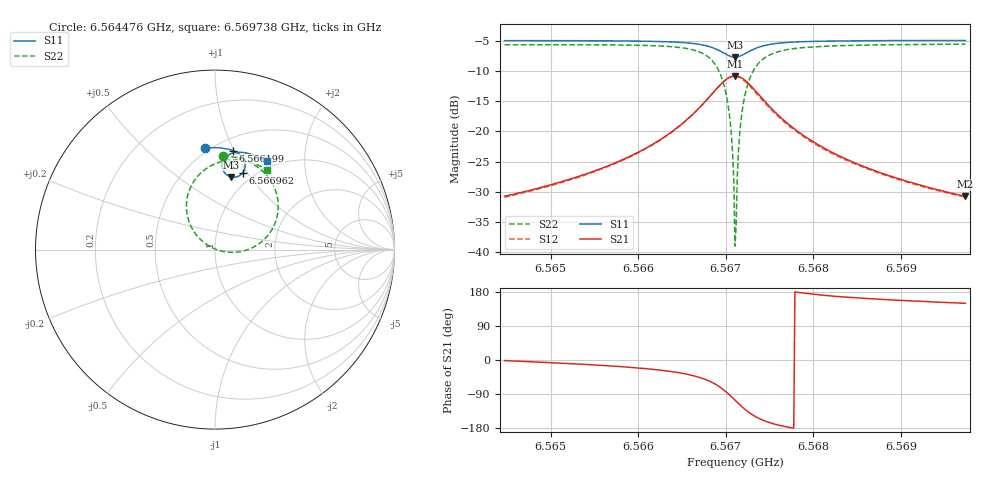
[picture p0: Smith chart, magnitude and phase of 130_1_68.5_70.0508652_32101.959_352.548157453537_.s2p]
#  HZ  S  RI  R  50.00
! Rohde & Schwarz Vector Network Analyzer
! Rohde-Schwarz,ZNB20-2Port,1311601062101988,3.16
! Created: UTC 3/20/2024, 5:09:34 PM
! freq[Hz]  re:S11  im:S11  re:S21  im:S21  re:S12  im:S12  re:S22  im:S22
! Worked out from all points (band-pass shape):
!   401 points, 6.564476 GHz to 6.569738 GHz, reference 50 ohm
!   highest |S21| = -10.75 dB at 6.567107 GHz (marker M1); lowest = -30.8 dB at 6.569738 GHz (marker M2)
!   |S21| within 3 dB of the highest: 6.566845 GHz to 6.56737 GHz (525.5 kHz wide, 0.008 % of centre)
!   lowest |S11| = -7.6 dB at 6.567107 GHz (marker M3), VSWR 2.42, Z = 41.8 + j40.8 ohm
!   |S11| at or under -10 dB: nowhere
!   |S22| runs from -39.1 to -5.5 dB; largest |S21 - S12| = 0.014
!   S11 on the Smith chart (normalised r, x): 6.564476 GHz: 0.47, +0.79; 6.566199 GHz: 0.61, +0.99; 6.566962 GHz: 0.88, +0.96; 6.569738 GHz: 0.91, +1.32
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6.5644756e9  -0.0537 0.5666  0.029 -0.000761  0.0284 -0.00124  0.0464 0.5235
6.565357e9  0.019 0.5675  0.0425 -0.00844  0.0416 -0.00888  0.1312 0.5089
6.566199e9  0.0987 0.5518  0.073 -0.0346  0.0719 -0.0353  0.2446 0.4538
6.5662384e9  0.103 0.5501  0.0755 -0.0373  0.0742 -0.0381  0.2518 0.4484
6.5667383e9  0.1618 0.498  0.111 -0.1267  0.1085 -0.1291  0.3504 0.2744
6.5668699e9  0.1676 0.4615  0.1004 -0.1905  0.0954 -0.194  0.3366 0.1527
6.566962e9  0.1549 0.4289  0.0612 -0.2462  0.0526 -0.2492  0.2654 0.0489
6.5670014e9  0.1423 0.416  0.0313 -0.2672  0.0209 -0.2688  0.2101 0.0115
6.5670409e9  0.1252 0.4068  -0.00666 -0.2809  -0.0186 -0.2803  0.1406 -0.0114
6.5670672e9  0.1117 0.4037  -0.0352 -0.2844  -0.0477 -0.2817  0.0891 -0.0151
6.5670935e9  0.0977 0.4035  -0.0647 -0.2821  -0.0772 -0.2772  0.0365 -0.00821
6.5671067e9  0.0906 0.4047  -0.0794 -0.2789  -0.0914 -0.2728  0.0111 -0.000654
6.5671198e9  0.0837 0.4065  -0.0935 -0.2741  -0.1051 -0.2669  -0.0135 0.00947
6.567133e9  0.0772 0.4092  -0.1071 -0.2681  -0.1182 -0.2599  -0.0365 0.0219
6.5671593e9  0.0653 0.4165  -0.1316 -0.2522  -0.1414 -0.2423  -0.0777 0.0531
6.5671856e9  0.0556 0.426  -0.1522 -0.2327  -0.1599 -0.2217  -0.1106 0.09
6.5672382e9  0.0437 0.4481  -0.1787 -0.1886  -0.1826 -0.1768  -0.1496 0.1707
6.567304e9  0.0414 0.4752  -0.1889 -0.1357  -0.189 -0.125  -0.1583 0.2642
6.5675539e9  0.0798 0.53  -0.1446 -0.0283  -0.1415 -0.0238  -0.0571 0.4453
6.5679881e9  0.1428 0.5423  -0.0825 0.00902  -0.0806 0.0102  0.0819 0.4979
6.5688695e9  0.2263 0.5222  -0.0398 0.0154  -0.0391 0.0158  0.2126 0.481
6.5697377e9  0.2909 0.4911  -0.025 0.0144  -0.0244 0.0147  0.2901 0.4457
